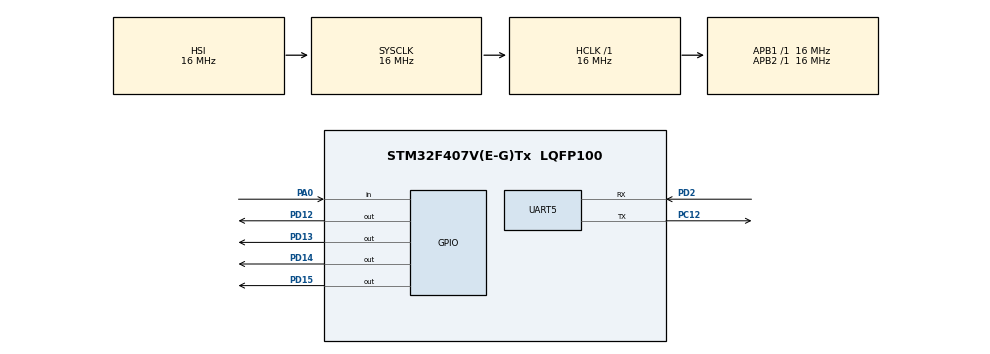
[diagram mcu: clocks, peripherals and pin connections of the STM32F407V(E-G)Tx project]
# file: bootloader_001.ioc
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Mcu.Family=STM32F4
Mcu.Name=STM32F407V(E-G)Tx
Mcu.Package=LQFP100
NVIC.PriorityGroup=NVIC_PRIORITYGROUP_4
PA0-WKUP.Signal=GPIO_Input
PC12.Mode=Asynchronous
PC12.Signal=UART5_TX
PD12.Signal=GPIO_Output
PD13.Signal=GPIO_Output
PD14.Signal=GPIO_Output
PD15.Signal=GPIO_Output
PD2.Mode=Asynchronous
PD2.Signal=UART5_RX
ProjectManager.HeapSize=0x200
ProjectManager.StackSize=0x400
ProjectManager.TargetToolchain=STM32CubeIDE
RCC.AHBFreq_Value=16000000
RCC.APB1Freq_Value=16000000
RCC.APB2Freq_Value=16000000
RCC.CortexFreq_Value=16000000
RCC.HSE_VALUE=25000000
RCC.HSI_VALUE=16000000
RCC.LSE_VALUE=32768
RCC.SYSCLKFreq_VALUE=16000000
RCC.VCOOutputFreq_Value=192000000
UART5.VirtualMode=Asynchronous
board=custom

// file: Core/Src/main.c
/* USER CODE BEGIN Header */
/**
  ******************************************************************************
  * @file           : main.c
  * @brief          : Main program body
  ******************************************************************************
  * @attention
  *
  * Copyright (c) 2022 STMicroelectronics.
  * All rights reserved.
  *
  * This software is licensed under terms that can be found in the LICENSE file
  * in the root directory of this software component.
  * If no LICENSE file comes with this software, it is provided AS-IS.
  *
  ******************************************************************************
  */
/* USER CODE END Header */
#include "main.h"

/* USER CODE BEGIN Includes */
#include"bootloader.h"
#include"xmodem.h"
/* USER CODE END Includes */

/* USER CODE BEGIN PM */
#define CMD_BUF_SIZE 200
/* USER CODE END PM */
UART_HandleTypeDef huart5;

/* USER CODE BEGIN PV */
uint8_t cmdBuf[CMD_BUF_SIZE];
//bl_sig_t __attribute__((section(".sigsection"))) signature;
/* USER CODE END PV */

void SystemClock_Config(void);
static void MX_GPIO_Init(void);
static void MX_UART5_Init(void);

int main(void)
{
  /* USER CODE BEGIN 1 */
//	bootloader_unlock_flash();
//	bootloader_flash_erase_signature_area();
//	bl_sig_t temp={.app_version=1,.bl_version=1,.update_flag=1};
//	memcpy(FLASH_SIGNATURE_AREA,&temp,sizeof(bl_sig_t));
//	bootloader_lock_flash();
	/* USER CODE END 1 */

  /* MCU Configuration--------------------------------------------------------*/

  /* Reset of all peripherals, Initializes the Flash interface and the Systick. */
	HAL_Init();

  /* Configure the system clock */
  SystemClock_Config();

  /* Initialize all configured peripherals */
  MX_GPIO_Init();
  MX_UART5_Init();
  /* USER CODE BEGIN 2 */

  /*Enter Bootloader mode when User_button is pressed*/
  if(HAL_GPIO_ReadPin(GPIOA, GPIO_PIN_0) == GPIO_PIN_SET){
	  bootloader_mode();
  }
  else{
	  bootloader_jump_to_user_code(&huart5);
  }
  /* USER CODE END 2 */

  /* Infinite loop */
  while (1)
  {

  }
}

void SystemClock_Config(void)
{
  RCC_OscInitTypeDef RCC_OscInitStruct = {0};
  RCC_ClkInitTypeDef RCC_ClkInitStruct = {0};

  /** Configure the main internal regulator output voltage
  */
  __HAL_RCC_PWR_CLK_ENABLE();
  __HAL_PWR_VOLTAGESCALING_CONFIG(PWR_REGULATOR_VOLTAGE_SCALE1);

  /** Initializes the RCC Oscillators according to the specified parameters
  * in the RCC_OscInitTypeDef structure.
  */
  RCC_OscInitStruct.OscillatorType = RCC_OSCILLATORTYPE_HSI;
  RCC_OscInitStruct.HSIState = RCC_HSI_ON;
  RCC_OscInitStruct.HSICalibrationValue = RCC_HSICALIBRATION_DEFAULT;
  RCC_OscInitStruct.PLL.PLLState = RCC_PLL_NONE;
  if (HAL_RCC_OscConfig(&RCC_OscInitStruct) != HAL_OK)
  {
    Error_Handler();
  }

  /** Initializes the CPU, AHB and APB buses clocks
  */
  RCC_ClkInitStruct.ClockType = RCC_CLOCKTYPE_HCLK|RCC_CLOCKTYPE_SYSCLK
                              |RCC_CLOCKTYPE_PCLK1|RCC_CLOCKTYPE_PCLK2;
  RCC_ClkInitStruct.SYSCLKSource = RCC_SYSCLKSOURCE_HSI;
  RCC_ClkInitStruct.AHBCLKDivider = RCC_SYSCLK_DIV1;
  RCC_ClkInitStruct.APB1CLKDivider = RCC_HCLK_DIV1;
  RCC_ClkInitStruct.APB2CLKDivider = RCC_HCLK_DIV1;

  if (HAL_RCC_ClockConfig(&RCC_ClkInitStruct, FLASH_LATENCY_0) != HAL_OK)
  {
    Error_Handler();
  }
}

static void MX_UART5_Init(void)
{

  huart5.Instance = UART5;
  huart5.Init.BaudRate = 115200;
  huart5.Init.WordLength = UART_WORDLENGTH_8B;
  huart5.Init.StopBits = UART_STOPBITS_1;
  huart5.Init.Parity = UART_PARITY_NONE;
  huart5.Init.Mode = UART_MODE_TX_RX;
  huart5.Init.HwFlowCtl = UART_HWCONTROL_NONE;
  huart5.Init.OverSampling = UART_OVERSAMPLING_16;
  if (HAL_UART_Init(&huart5) != HAL_OK)
  {
    Error_Handler();
  }

}

static void MX_GPIO_Init(void)
{
  GPIO_InitTypeDef GPIO_InitStruct = {0};

  /* GPIO Ports Clock Enable */
  __HAL_RCC_GPIOA_CLK_ENABLE();
  __HAL_RCC_GPIOD_CLK_ENABLE();
  __HAL_RCC_GPIOC_CLK_ENABLE();

  /*Configure GPIO pin Output Level */
  HAL_GPIO_WritePin(GPIOD, GPIO_PIN_12|GPIO_PIN_13|GPIO_PIN_14|GPIO_PIN_15, GPIO_PIN_RESET);

  /*Configure GPIO pin : PA0 */
  GPIO_InitStruct.Pin = GPIO_PIN_0;
  GPIO_InitStruct.Mode = GPIO_MODE_INPUT;
  GPIO_InitStruct.Pull = GPIO_NOPULL;
  HAL_GPIO_Init(GPIOA, &GPIO_InitStruct);

  /*Configure GPIO pins : PD12 PD13 PD14 PD15 */
  GPIO_InitStruct.Pin = GPIO_PIN_12|GPIO_PIN_13|GPIO_PIN_14|GPIO_PIN_15;
  GPIO_InitStruct.Mode = GPIO_MODE_OUTPUT_PP;
  GPIO_InitStruct.Pull = GPIO_NOPULL;
  GPIO_InitStruct.Speed = GPIO_SPEED_FREQ_LOW;
  HAL_GPIO_Init(GPIOD, &GPIO_InitStruct);

}

/* USER CODE BEGIN 4 */
void bootloader_mode(){

	HAL_GPIO_WritePin(GPIOD, GPIO_PIN_12|GPIO_PIN_13|GPIO_PIN_14|GPIO_PIN_15, SET);
	/*Use UART5 for bootloader command*/
	HAL_UART_Transmit(&huart5,(uint8_t*) "Welcome to bootloader\r\n", strlen("Welcome to bootloder\r\n"),HAL_MAX_DELAY );

	/*poll UART5 to read data*/
	while(1)
	{
		/*Receive command from host*/
		HAL_UART_Receive(&huart5, cmdBuf, CMD_SIZE, HAL_MAX_DELAY);

		//break through cmd
		switch(cmdBuf[0])
		{
		case BL_GET_VERSION:
			bootloader_get_bl_version(&huart5);
			break;
		case BL_JMP_TO_USER_CODE:
			bootloader_jump_to_user_code(&huart5);
			break;
		case BL_WRITE_BIN_TO_MEMORY:
			bootloader_flash_erase_download_area();
			while(1){
				if(xmodem_receive(&huart5)==XMODEM_ERROR){
					HAL_UART_Transmit(&huart5, "ERROR", strlen("ERROR"), HAL_MAX_DELAY);
					while(1);
				}
			}
			break;
		default:
			HAL_UART_Transmit(&huart5, "Invalid cmd\n\r", strlen("Invalid cmd\n\r"), HAL_MAX_DELAY);
		}
	}
}

/* USER CODE END 4 */

void Error_Handler(void)
{
  __disable_irq();
  while (1)
  {
  }
}
